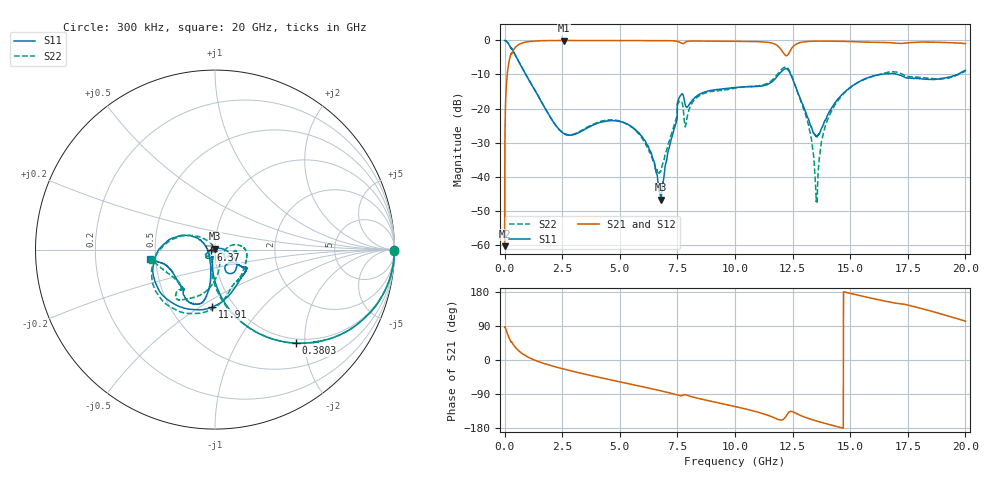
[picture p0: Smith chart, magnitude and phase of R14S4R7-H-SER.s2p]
!{R14S4R7}
!Johanson Technology Inc.
!www.johansontechnology.com
!Test Board Conditions:
!Substrate Type  RO4350B
!Substrate Thickness  20 mil
!Substrate Dk  3.66
!TL Type: GCPW
!TL Trace Width  36 mil
!TL Gap  12 mil
!Electrode orientation  Horizontal
!DUT TOPOLOGY	SERIES
!Mounting Pad LxW  26x36 mil
! Created Wed Nov 25 17:33:21 2020
! 2 Port Network Data from SP1.SP block
! freq  magS11  angS11  magS21  angS21  magS12  angS12  magS22  angS22
# khz S ma R 50
! decimated to every 10th point (10 MHz spacing) of the original 1 MHz Johanson file; values unchanged
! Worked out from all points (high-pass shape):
!   2001 points, 300 kHz to 20 GHz, reference 50 ohm
!   highest |S21| = -0.02 dB at 2.57 GHz (marker M1); lowest = -60.4 dB at 300 kHz (marker M2)
!   |S21| within 3 dB of the highest: 367.1 MHz to 12.04 GHz (11.67 GHz wide, 188 % of centre); 12.4 GHz to end of sweep
!   lowest |S11| = -46.8 dB at 6.78 GHz (marker M3), VSWR 1.01, Z = 49.9 + j0.447 ohm
!   |S11| at or under -10 dB: 919.5 MHz to 11.9 GHz (10.98 GHz wide, 171 % of centre); 12.42 GHz to 16.33 GHz (3.907 GHz wide, 27.2 % of centre); 17.07 GHz to 19.65 GHz (2.586 GHz wide, 14.1 % of centre)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
!   |S22| runs from -47.7 to 0.0 dB; largest |S21 - S12| = 0.02
!   S11 on the Smith chart (normalised r, x): 300 kHz: open; 380.3 MHz: 0.92, -1.81; 6.37 GHz: 0.96, -0.00; 11.91 GHz: 0.79, -0.56; 20 GHz: 0.47, -0.06
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300  0.9984 -0.2  0.0009532 86.6  0.0008507 86.4  0.9987 -0.3
120300  0.9421 -20.5  0.3319 69.4  0.3333 69.3  0.942 -20.5
380300  0.6886 -49.2  0.7195 40.5  0.7207 40.5  0.6891 -49.1
1030300  0.2719 -82.0  0.9609 7.2  0.9604 7.2  0.2723 -83.2
2570300  0.04304 -104.8  0.9979 -24.0  0.9973 -24.0  0.04312 -121.1
3340300  0.04694 -114.5  0.9964 -35.3  0.9961 -35.3  0.04763 -133.0
5120300  0.06294 -145.1  0.9941 -59.2  0.9946 -59.2  0.06369 -151.8
6370300  0.02191 -175.2  0.9959 -75.8  0.9941 -75.7  0.02023 -142.9
6670300  0.007426 155.7  0.9945 -79.8  0.9944 -79.8  0.01096 -96.7
6780300  0.004592 102.5  0.9949 -81.3  0.9945 -81.3  0.01199 -70.1
7630300  0.1545 -38.5  0.9312 -94.2  0.9302 -94.2  0.1292 -17.2
7870300  0.1064 -56.4  0.9517 -92.0  0.9533 -92.0  0.05828 1.4
8470300  0.1624 -32.5  0.9793 -102.2  0.979 -102.2  0.1557 5.3
1.00003e7  0.2032 -29.8  0.9705 -122.8  0.97 -122.8  0.1991 -38.9
1.19103e7  0.3195 -92.5  0.8001 -157.7  0.8026 -157.7  0.3408 -95.5
1.24103e7  0.3227 -177.0  0.7194 -135.4  0.7211 -135.8  0.3325 -173.9
1.33403e7  0.05063 164.7  0.972 -157.4  0.9733 -157.3  0.03097 120.1
1.35503e7  0.03852 -160.4  0.977 -161.3  0.9756 -161.1  0.004407 -1.0
1.38503e7  0.05998 -118.9  0.9796 -166.5  0.9786 -166.3  0.04617 -62.1
1.43903e7  0.1273 -100.6  0.9751 -175.1  0.9766 -175.1  0.1194 -80.0
1.66703e7  0.3234 -112.1  0.9291 153.4  0.9214 153.1  0.3435 -124.6
2e7  0.3645 -171.7  0.8973 102.4  0.8964 102.7  0.3545 -170.9
